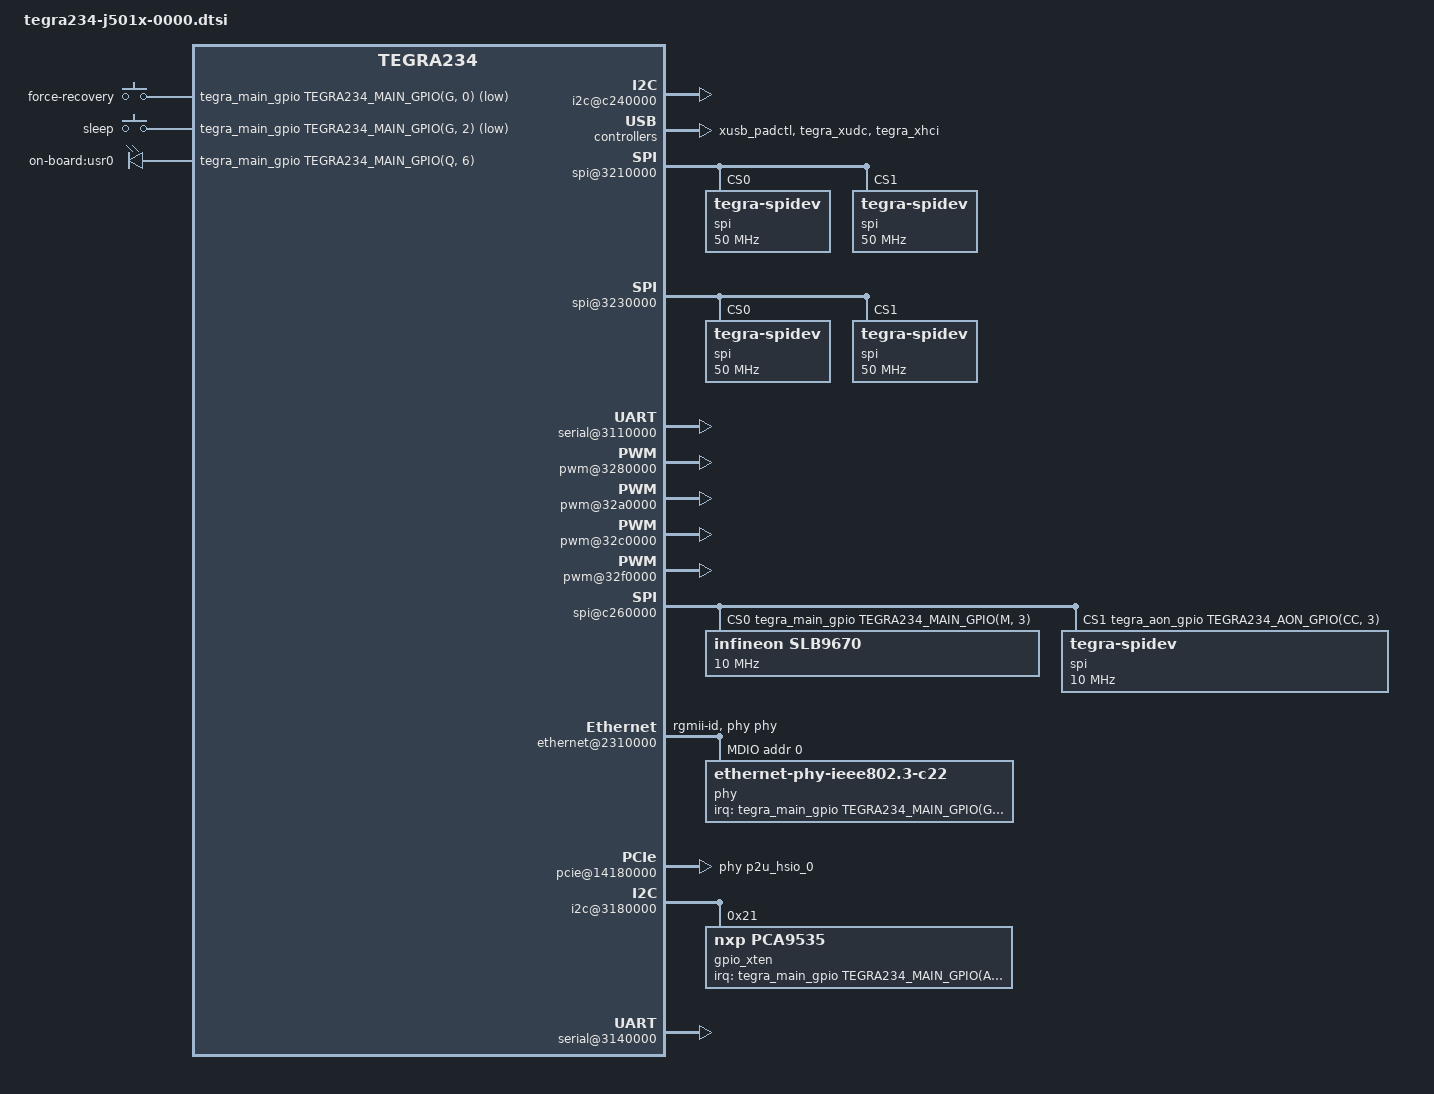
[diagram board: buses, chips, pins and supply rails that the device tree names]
/*
 * Copyright (c) 2021-2022, NVIDIA CORPORATION.  All rights reserved.
 *
 * This program is free software; you can redistribute it and/or modify
 * it under the terms of the GNU General Public License as published by
 * the Free Software Foundation; version 2 of the License.
 *
 * This program is distributed in the hope that it will be useful, but WITHOUT
 * ANY WARRANTY; without even the implied warranty of MERCHANTABILITY or
 * FITNESS FOR A PARTICULAR PURPOSE.  See the GNU General Public License for
 * more details.
 */
#include <dt-bindings/gpio/tegra234-gpio.h>
#include "dt-bindings/input/input.h"
#include "tegra234-pwm-fan.dtsi"
#include "tegra234-j501x-audio.dtsi"
#include "tegra234-j501x-fixed-regulator.dtsi"
#include "tegra234-ethernet-3737-0000.dtsi"
#include "tegra234-p3737-pcie.dtsi"
// #include "tegra234-p3737-super-module-e2614.dtsi"
#include <dt-bindings/net/ti-dp83867.h>

/ {
	gpio-keys {
		compatible = "gpio-keys";
		gpio-keys,name = "gpio-keys";
		status = "okay";

		forcerecovery {
			label = "force-recovery";
			gpios = <&tegra_main_gpio TEGRA234_MAIN_GPIO(G, 0) GPIO_ACTIVE_LOW>;
			linux,code = <BTN_1>;
		};


		sleep {
			label = "sleep";
			gpios = <&tegra_main_gpio TEGRA234_MAIN_GPIO(G, 2) GPIO_ACTIVE_LOW>;
			linux,code = <KEY_SLEEP>;
		};
	};

	leds {
		status = "okay";
		compatible = "gpio-leds";

		led {
			label = "on-board:usr0";
			gpios = <&tegra_main_gpio TEGRA234_MAIN_GPIO(Q, 6) GPIO_ACTIVE_HIGH>;
			linux,default-trigger = "cpu0";
			default-state = "off";
		};
	};

	soft_wdt:soft_watchdog {
		compatible = "softdog-platform";
		status = "okay";
	};

	eeprom-manager {
		data-size = <0x100>;
		bus@0 {
			i2c-bus = <&gen1_i2c>;
			eeprom@1 {
				slave-address = <0x56>;
				label = "cvb";
			};
		};

		bus@1 {
			i2c-bus = <&gen2_i2c>;
			eeprom@1 {
				slave-address = <0x50>;
				label = "super-module";
			};
		};

		bus@2 {
			i2c-bus = <&cam_i2c>;
			eeprom@0 {
				slave-address = <0x54>;
				label = "sensor0";
			};
			eeprom@1 {
				slave-address = <0x57>;
				label = "sensor1";
			};
			eeprom@2 {
				slave-address = <0x52>;
				label = "sensor2";
			};
		};

	};

	ufshci@2500000 {
		nvidia,enable-ufs-provisioning;
		status = "disabled";
	};


	i2c@c240000 {
		status = "okay";
	};

	xusb_padctl: xusb_padctl@3520000 {
		status = "okay";
		pads {
			usb2 {
				lanes {
					usb2-0 {
						nvidia,function = "xusb";
						status = "okay";
					};
					usb2-1 {
						nvidia,function = "xusb";
						status = "okay";
					};
					usb2-2 {
						nvidia,function = "xusb";
						status = "okay";
					};
					usb2-3 {
						nvidia,function = "xusb";
						status = "okay";
					};
				};
			};
			usb3 {
				lanes {
					usb3-0 {
						nvidia,function = "xusb";
						status = "okay";
					};
					usb3-1 {
						nvidia,function = "xusb";
						status = "okay";
					};
					usb3-2 {
						nvidia,function = "xusb";
						status = "okay";
					};
				};
			};
		};

		ports {
			usb2-0 {
				mode = "otg";
				usb-role-switch;
				status = "okay";
				connector {
					compatible = "usb-b-connector", "gpio-usb-b-connector";
					label = "micro-USB";
					type = "micro";
					vbus-gpio = <&tegra_main_gpio TEGRA234_MAIN_GPIO(AF, 3) GPIO_ACTIVE_HIGH>;
					id-gpio = <&tegra_main_gpio TEGRA234_MAIN_GPIO(AF, 2) GPIO_ACTIVE_HIGH>;
				};
			};
			usb2-1 {
				mode = "host";
				status = "okay";
			};
			usb2-2 {
				mode = "host";
				status = "okay";
			};
			usb2-3 {
				mode = "host";
				status = "okay";
			};
			usb3-0 {
				nvidia,usb2-companion = <1>;
				status = "okay";
			};
			usb3-1 {
				nvidia,usb2-companion = <0>;
				status = "okay";
			};
			usb3-2 {
				nvidia,usb2-companion = <3>;
				status = "okay";
			};
		};
	};

	tegra_xudc: xudc@3550000 {
		status = "okay";
		phys = <&{/xusb_padctl@3520000/pads/usb2/lanes/usb2-0}>,
			<&{/xusb_padctl@3520000/pads/usb3/lanes/usb3-1}>;
		phy-names = "usb2-0", "usb3-1";
		nvidia,xusb-padctl = <&xusb_padctl>;
		nvidia,boost_cpu_freq = <1200>;
	};

	tegra_xhci: xhci@3610000 {
		status = "okay";
		phys = <&{/xusb_padctl@3520000/pads/usb2/lanes/usb2-0}>,
			<&{/xusb_padctl@3520000/pads/usb2/lanes/usb2-1}>,
			<&{/xusb_padctl@3520000/pads/usb2/lanes/usb2-2}>,
			<&{/xusb_padctl@3520000/pads/usb2/lanes/usb2-3}>,
			<&{/xusb_padctl@3520000/pads/usb3/lanes/usb3-0}>,
			<&{/xusb_padctl@3520000/pads/usb3/lanes/usb3-1}>,
			<&{/xusb_padctl@3520000/pads/usb3/lanes/usb3-2}>;
		phy-names = "usb2-0", "usb2-1", "usb2-2", "usb2-3",
			"usb3-0", "usb3-1", "usb3-2";
		nvidia,xusb-padctl = <&xusb_padctl>;
	};

	spi@3210000{ /* SPI1 in 40 pin conn */
		status = "okay";
		spi@0 { /* chip select 0 */
			compatible = "tegra-spidev";
			reg = <0x0>;
			spi-max-frequency = <50000000>;
			controller-data {
				nvidia,enable-hw-based-cs;
				nvidia,rx-clk-tap-delay = <0x10>;
				nvidia,tx-clk-tap-delay = <0x0>;
			};
		};
		spi@1 { /* chip select 1 */
			compatible = "tegra-spidev";
			reg = <0x1>;
			spi-max-frequency = <50000000>;
			controller-data {
				nvidia,enable-hw-based-cs;
				nvidia,rx-clk-tap-delay = <0x10>;
				nvidia,tx-clk-tap-delay = <0x0>;
			};
		};
	};

	spi@3230000{ /* SPI3 in 40 pin conn */
		status = "okay";
		spi@0 { /* chip select 0 */
			compatible = "tegra-spidev";
			reg = <0x0>;
			spi-max-frequency = <50000000>;
			controller-data {
				nvidia,enable-hw-based-cs;
				nvidia,rx-clk-tap-delay = <0x10>;
				nvidia,tx-clk-tap-delay = <0x0>;
			};
		};
		spi@1 { /* chips select 1 */
			compatible = "tegra-spidev";
			reg = <0x1>;
			spi-max-frequency = <50000000>;
			controller-data {
				nvidia,enable-hw-based-cs;
				nvidia,rx-clk-tap-delay = <0x10>;
				nvidia,tx-clk-tap-delay = <0x0>;
			};
		};
	};

	gte@c1e0000 {
		status = "okay";
	};

	gpio@c2f0000 {
		/delete-property/ use-timestamp;
	};

	mttcan@c310000 {
		status = "okay";
	};

	mttcan@c320000 {
		status = "okay";
	};

	serial@3110000 {
		status = "okay";
	};

	tachometer@39c0000 {
		status = "okay";
		upper-threshold = <0xfffff>;
		lower-threshold = <0x0>;
	};

	pwm@3280000 {
		status = "okay";
	};

	pwm@32a0000 {
		status = "okay";
	};

	pwm@32c0000 {
		status = "okay";
	};

	pwm@32d0000 {
		status = "disabled";
	};

	pwm@32f0000 {
		status = "okay";
	};
	spi@c260000 {
		status = "okay";
		cs-gpios = <&tegra_main_gpio TEGRA234_MAIN_GPIO(M, 3) GPIO_ACTIVE_HIGH>,
					<&tegra_aon_gpio TEGRA234_AON_GPIO(CC, 3) GPIO_ACTIVE_HIGH>;
		num-cs = <2>;

		slb9670@0 {
			compatible = "infineon,slb9670";
			status = "okay";
			reg = <0x0>;
			spi-max-frequency = <10000000>;
			controller-data {
				nvidia,cs-setup-clk-count = <0x1e>;
				nvidia,cs-hold-clk-count = <0x1e>;
				nvidia,rx-clk-tap-delay = <0x7>;
				nvidia,tx-clk-tap-delay = <0x0>;
				nvidia,cs-inactive-cycles = <0x6>;
			};
		};
		spi@1 { /* chips select 1 */
			compatible = "tegra-spidev";
			reg = <0x1>;
			status = "okay";
			spi-max-frequency = <10000000>;
		};
	};

	spi@3300000 {
		status = "disabled";
	};

	gpio@2200000 {
		/* gpio-name for 40-pin header, gpio-name given as COL(10) x ROW(24),
		   Tegra-GPIO starts from 348 */
		gpio-line-names = "",   "",     "",     "",     "",     "",     "",     "",     "",     "",
		"",     "",     "",     "",     "",     "",     "",     "",     "",     "",
		"",     "",     "",     "",     "",     "",     "",     "",     "",     "",
		"",     "",     "",     "",     "",     "",     "",     "",     "",     "",
		"",     "",     "",     "",     "",     "",     "",     "",     "",     "",
		"",     "",     "",     "",     "",     "",     "GPIO35",     "",     "",     "",
		"",     "",     "",     "I2S2_SCLK",     "I2S2_DOUT",     "I2S2_DIN",     "I2S2_FS",     "",     "",     "",
		"",     "",     "",     "",     "",     "",     "",     "",     "",     "",
		"",     "",     "",     "",     "",     "",     "",     "",     "",     "",
		"",     "",     "",     "",     "",     "",     "",     "",     "",     "",
		"",     "",     "",     "",     "",     "GPIO27",     "",     "",     "",     "",
		"",     "",     "",     "",     "",     "",     "GPIO17",     "",     "",     "",
		"",     "",     "",     "",     "",     "",     "MCLK05",     "",     "PWM01",     "",
		"",     "",     "",     "",     "",     "",     "",     "",     "",     "",
		"",     "",     "",     "",     "",     "",     "",     "",     "",     "",
		"",     "",     "",     "",     "",     "SPI1_CLK",     "SPI1_MISO",     "SPI1_MOSI",     "SPI1_CS0_N",     "SPI1_CS1_N",
		"",     "",     "",     "";
	};

	gpio@c2f0000 {
		/* gpio-name for 40-pin header, gpio-name given as COL(10) x ROW(2),
		   Tegra-AON-GPIO starts from 316 */
		gpio-line-names = "CAN0_DOUT",   "CAN0_DIN",     "CAN1_DOUT",     "CAN1_DIN",     "",     "",     "",     "",     "GPIO09",     "GPIO08",
		"",     "",     "",     "",     "",     "",     "",     "",     "",     "";
	};


	ethernet@2310000 {
		status = "okay";
		nvidia,mac-addr-idx = <1>;
		nvidia,max-platform-mtu = <8000>;
		nvidia,pause_frames = <0>;
		nvidia,phy-reset-gpio = <&tegra_main_gpio TEGRA234_MAIN_GPIO(G, 5) 0>;
		phy-handle = <&phy>;
		phy-mode = "rgmii-id";		
	
		mdio {
			compatible = "nvidia,eqos-mdio";
			#address-cells = <1>;
			#size-cells = <0>;
			phy: phy@0 {
				reg = <0>;
				compatible = "ethernet-phy-ieee802.3-c22";
				tx-fifo-depth = <DP83867_PHYCR_FIFO_DEPTH_4_B_NIB>;
				rx-fifo-depth = <DP83867_PHYCR_FIFO_DEPTH_4_B_NIB>;
				ti,max-output-impedance;
			//	ti,clk-output-sel = <DP83867_CLK_O_SEL_CHN_A_RCLK>;
				ti,rx-internal-delay = <DP83867_RGMIIDCTL_2_75_NS>;
				ti,tx-internal-delay = <DP83867_RGMIIDCTL_2_75_NS>;
				interrupt-parent = <&tegra_main_gpio>;
				interrupts = <TEGRA234_MAIN_GPIO(G, 4) IRQ_TYPE_LEVEL_LOW>; //<TODO> Need to check
			};			
		};		
	};

	pcie@14180000 {
		status = "okay";
		phys = <&p2u_hsio_0>;
		phy-names = "p2u-0";		
	};

	i2c@3180000 {
		status = "okay";
		gpio_xten: gpio_xten@21 {
			compatible = "nxp,pca9535";
			reg = <0x21>;
			gpio-controller;
			#gpio-cells = <2>;

			interrupt-controller;
			#interrupt-cells=<2>;

			interrupt-parent = <&tegra_main_gpio>;
			interrupts = <TEGRA234_MAIN_GPIO(AC, 5) IRQ_TYPE_EDGE_FALLING>;

			gpio-line-names =
					"M2B_DPR"			,"M2B_P_OFF_N",
					"M2B_W_DIS2_N"		,"PCIe_WAKE",
					"SIM_MUC_SEL"		,"PCIe_SX1261_RST_N",
					"M2B_W_DIS1_N"		,"M2B_PCIe_RST_N",
					"CAN1_120R_EN"		,"CAN0_120R_EN",
					"TPM_RST"			,"TPM_IRQ",
					"CODEC_RST_N"		,"USB_HUB_RST_N",
					"CAM_VDD_SYS_EN"		,"UART2_EN";

			gpio-line-offsets = <0>, <1>, <2>, <3>, <4>, <5>, <6>, <7>, <8>, <9>, <10>, <11>, <12>, <13>, <14>, <15>;

			CAM_VDD_SYS_EN {
				gpios = <&gpio_xten 14 GPIO_ACTIVE_HIGH>;
				output-high;
				line-name = "CAM_VDD_SYS_EN";
			};
		};
	};

	display@13800000 {
		os_gpio_hotplug_a = <&tegra_main_gpio TEGRA234_MAIN_GPIO(M, 0) GPIO_ACTIVE_HIGH>;
	};

	pinmux@2430000  {
		pinctrl-names = "default";
		pinctrl-0 = <&jetson_io_pinmux>;
		jetson_io_pinmux: exp-header-pinmux {
			uart5_tx_py5 {
					nvidia,pins = "uart5_tx_py5";
					nvidia,function = "uarte";
					nvidia,pull = <TEGRA_PIN_PULL_NONE>;
					nvidia,tristate = <TEGRA_PIN_DISABLE>;
					nvidia,enable-input = <TEGRA_PIN_DISABLE>;
					nvidia,lpdr = <TEGRA_PIN_DISABLE>;
			};

			uart5_rx_py6 {
					nvidia,pins = "uart5_rx_py6";
					nvidia,function = "uarte";
					nvidia,pull = <TEGRA_PIN_PULL_NONE>;
					nvidia,tristate = <TEGRA_PIN_ENABLE>;
					nvidia,enable-input = <TEGRA_PIN_ENABLE>;
					nvidia,lpdr = <TEGRA_PIN_DISABLE>;
			};

			uart5_rts_py7 {
					nvidia,pins = "uart5_rts_py7";
					nvidia,function = "uarte";
					nvidia,pull = <TEGRA_PIN_PULL_UP>;
					nvidia,tristate = <TEGRA_PIN_DISABLE>;
					nvidia,enable-input = <TEGRA_PIN_DISABLE>;
					nvidia,lpdr = <TEGRA_PIN_DISABLE>;
			};

			uart5_cts_pz0 {
					nvidia,pins = "uart5_cts_pz0";
					nvidia,function = "uarte";
					nvidia,pull = <TEGRA_PIN_PULL_NONE>;
					nvidia,tristate = <TEGRA_PIN_ENABLE>;
					nvidia,enable-input = <TEGRA_PIN_ENABLE>;
					nvidia,lpdr = <TEGRA_PIN_DISABLE>;
			};
		};
	};

	serial@3140000 {
		status = "okay";
	};
};
